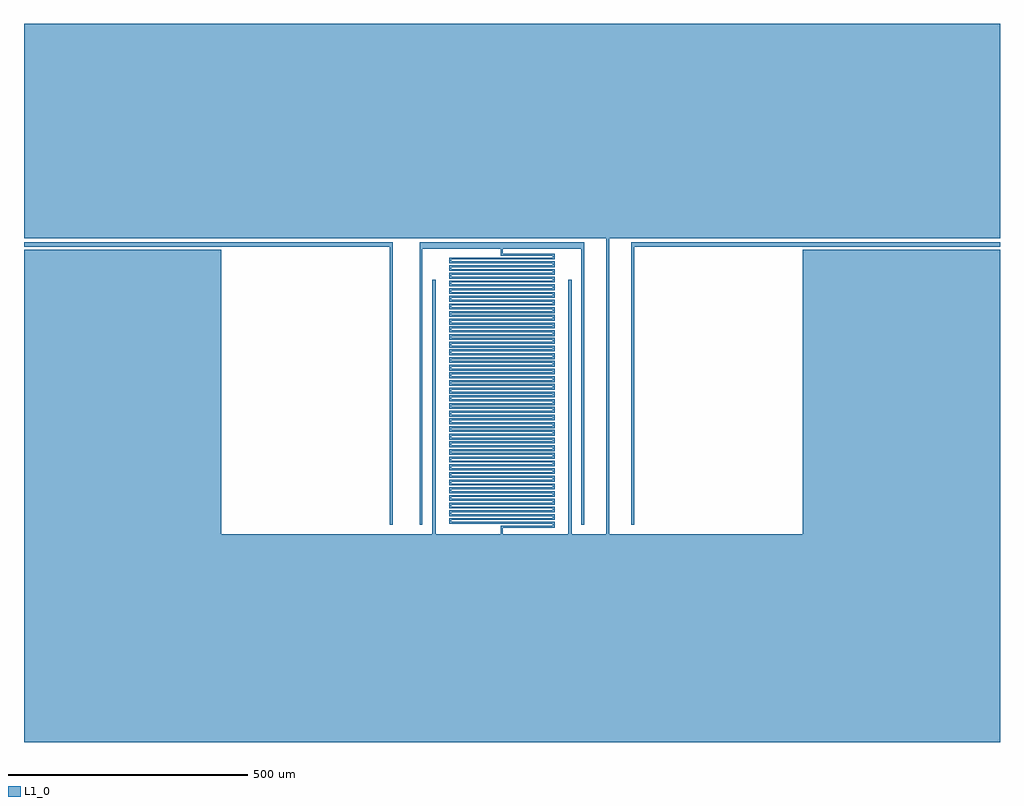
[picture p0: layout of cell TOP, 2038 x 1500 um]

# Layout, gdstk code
import gdstk
lib = gdstk.Library(unit=1e-6, precision=1e-09)
def R(c, l, rs):  # rectangles x0, y0, x1, y1
    for r in rs: c.add(gdstk.rectangle(r[:2], r[2:], *l))
def P(c, l, *ps):  # polygons
    for p in ps: c.add(gdstk.Polygon(p, *l))
L1_0 = (1, 0)

top = lib.new_cell('TOP')
R(top, L1_0, [(852,434,860,966), (1136,434,1144,966)])
P(top, L1_0, [(770,1044),(0,1044),(0,1034),(764,1034),(764,454),(770,454)],
  [(1274,1034),(2038,1034),(2038,1044),(1268,1044),(1268,454),(1274,454)],
  [(2038,1052),(2038,1500),(0,1500),(0,1052),(1216,1052),(1216,434),(412,434),(412,1028),(0,1028),(0,0),(2038,0),(2038,1028),(1626,1028),(1626,434),(1222,434),(1222,1052)],
  [(826,454),(832,454),(832,1030),(1164,1030),(1164,454),(1170,454),(1170,1044),(826,1044)],
  [(1000,448),(1108,448),(1108,460),(892,460),(892,464),(1108,464),(1108,476),(892,476),(892,480),(1108,480),(1108,492),(892,492),(892,496),(1108,496),(1108,508),(892,508),(892,512),(1108,512),(1108,524),(892,524),(892,528),(1108,528),(1108,540),(892,540),(892,544),(1108,544),(1108,556),(892,556),(892,560),(1108,560),(1108,572),(892,572),(892,576),(1108,576),(1108,588),(892,588),(892,592),(1108,592),(1108,604),(892,604),(892,608),(1108,608),(1108,620),(892,620),(892,624),(1108,624),(1108,636),(892,636),(892,640),(1108,640),(1108,652),(892,652),(892,656),(1108,656),(1108,668),(892,668),(892,672),(1108,672),(1108,684),(892,684),(892,688),(1108,688),(1108,700),(892,700),(892,704),(1108,704),(1108,716),(892,716),(892,720),(1108,720),(1108,732),(892,732),(892,736),(888,736),(888,728),(1104,728),(1104,724),(888,724),(888,712),(1104,712),(1104,708),(888,708),(888,696),(1104,696),(1104,692),(888,692),(888,680),(1104,680),(1104,676),(888,676),(888,664),(1104,664),(1104,660),(888,660),(888,648),(1104,648),(1104,644),(888,644),(888,632),(1104,632),(1104,628),(888,628),(888,616),(1104,616),(1104,612),(888,612),(888,600),(1104,600),(1104,596),(888,596),(888,584),(1104,584),(1104,580),(888,580),(888,568),(1104,568),(1104,564),(888,564),(888,552),(1104,552),(1104,548),(888,548),(888,536),(1104,536),(1104,532),(888,532),(888,520),(1104,520),(1104,516),(888,516),(888,504),(1104,504),(1104,500),(888,500),(888,488),(1104,488),(1104,484),(888,484),(888,472),(1104,472),(1104,468),(888,468),(888,456),(1104,456),(1104,452),(996,452),(996,434),(1000,434)],
  [(1108,748),(892,748),(892,752),(1108,752),(1108,764),(892,764),(892,768),(1108,768),(1108,780),(892,780),(892,784),(1108,784),(1108,796),(892,796),(892,800),(1108,800),(1108,812),(892,812),(892,816),(1108,816),(1108,828),(892,828),(892,832),(1108,832),(1108,844),(892,844),(892,848),(1108,848),(1108,860),(892,860),(892,864),(1108,864),(1108,876),(892,876),(892,880),(1108,880),(1108,892),(892,892),(892,896),(1108,896),(1108,908),(892,908),(892,912),(1108,912),(1108,924),(892,924),(892,928),(1108,928),(1108,940),(892,940),(892,944),(1108,944),(1108,956),(892,956),(892,960),(1108,960),(1108,972),(892,972),(892,976),(1108,976),(1108,988),(892,988),(892,992),(1108,992),(1108,1004),(892,1004),(892,1008),(1108,1008),(1108,1020),(1000,1020),(1000,1030),(996,1030),(996,1016),(1104,1016),(1104,1012),(888,1012),(888,1000),(1104,1000),(1104,996),(888,996),(888,984),(1104,984),(1104,980),(888,980),(888,968),(1104,968),(1104,964),(888,964),(888,952),(1104,952),(1104,948),(888,948),(888,936),(1104,936),(1104,932),(888,932),(888,920),(1104,920),(1104,916),(888,916),(888,904),(1104,904),(1104,900),(888,900),(888,888),(1104,888),(1104,884),(888,884),(888,872),(1104,872),(1104,868),(888,868),(888,856),(1104,856),(1104,852),(888,852),(888,840),(1104,840),(1104,836),(888,836),(888,824),(1104,824),(1104,820),(888,820),(888,808),(1104,808),(1104,804),(888,804),(888,792),(1104,792),(1104,788),(888,788),(888,776),(1104,776),(1104,772),(888,772),(888,760),(1104,760),(1104,756),(888,756),(888,744),(1104,744),(1104,740),(888,740),(888,736),(1108,736)])

lib.write_gds('TOP.gds')
